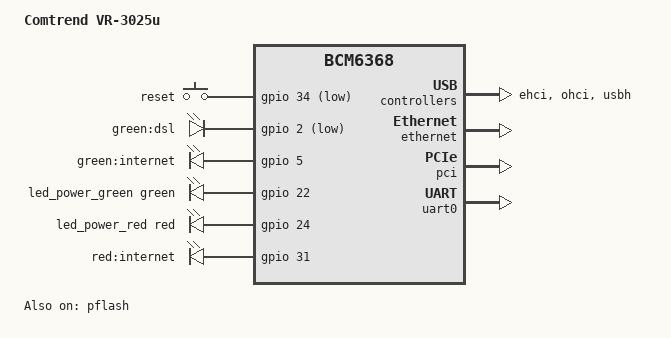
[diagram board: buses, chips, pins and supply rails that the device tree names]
// SPDX-License-Identifier: GPL-2.0-or-later

#include "bcm6368.dtsi"

/ {
	model = "Comtrend VR-3025u";
	compatible = "comtrend,vr-3025u", "brcm,bcm6368";

	aliases {
		led-boot = &led_power_green;
		led-failsafe = &led_power_red;
		led-running = &led_power_green;
		led-upgrade = &led_power_green;
	};

	keys {
		compatible = "gpio-keys-polled";
		poll-interval = <100>;

		reset {
			label = "reset";
			gpios = <&gpio 34 GPIO_ACTIVE_LOW>;
			linux,code = <KEY_RESTART>;
			debounce-interval = <60>;
		};
	};

	leds {
		compatible = "gpio-leds";

		led@2 {
			label = "green:dsl";
			gpios = <&gpio 2 GPIO_ACTIVE_LOW>;
		};

		led@5 {
			label = "green:internet";
			gpios = <&gpio 5 GPIO_ACTIVE_HIGH>;
		};

		led_power_green: led@22 {
			function = LED_FUNCTION_POWER;
			color = <LED_COLOR_ID_GREEN>;
			gpios = <&gpio 22 GPIO_ACTIVE_HIGH>;
		};

		led_power_red: led@24 {
			function = LED_FUNCTION_POWER;
			color = <LED_COLOR_ID_RED>;
			gpios = <&gpio 24 GPIO_ACTIVE_HIGH>;
			panic-indicator;
		};

		led@31 {
			label = "red:internet";
			gpios = <&gpio 31 GPIO_ACTIVE_HIGH>;
		};
	};

	bcm43222-sprom {
		compatible = "brcm,ssb-sprom";

		pci-bus = <0>;
		pci-dev = <1>;

		nvmem-cells = <&macaddr_cfe_6a0 1>;
		nvmem-cell-names = "mac-address";

		brcm,sprom = "brcm/bcm43222-sprom.bin";
		brcm,sprom-fixups = <97 0xfeb3>,
				    <98 0x1618>,
				    <99 0xfab0>,
				    <113 0xfed1>,
				    <114 0x1609>,
				    <115 0xfad9>;
	};
};

&ehci {
	status = "okay";
};

&ethernet {
	status = "okay";

	nvmem-cells = <&macaddr_cfe_6a0 0>;
	nvmem-cell-names = "mac-address";
};

&ohci {
	status = "okay";
};

&pci {
	status = "okay";
};

&pflash {
	status = "okay";

	partitions {
		compatible = "fixed-partitions";
		#address-cells = <1>;
		#size-cells = <1>;

		partition@0 {
			label = "CFE";
			reg = <0x0000000 0x0020000>;
			read-only;

			nvmem-layout {
				compatible = "fixed-layout";
				#address-cells = <1>;
				#size-cells = <1>;

				macaddr_cfe_6a0: macaddr@6a0 {
					compatible = "mac-base";
					reg = <0x6a0 0x6>;
					#nvmem-cell-cells = <1>;
				};
			};
		};

		partition@20000 {
			compatible = "brcm,bcm963xx-imagetag";
			label = "firmware";
			reg = <0x0020000 0x1fc0000>;
		};

		partition@1fe0000 {
			label = "nvram";
			reg = <0x1fe0000 0x020000>;
		};
	};
};

&pinctrl {
	pinctrl-names = "default";
	pinctrl-0 = <&pinctrl_ephy0_led &pinctrl_ephy1_led
		     &pinctrl_ephy2_led &pinctrl_ephy3_led>;
};

&switch0 {
	ports {
		port@0 {
			reg = <0>;
			label = "lan1";

			phy-handle = <&phy1>;
			phy-mode = "mii";
		};

		port@1 {
			reg = <1>;
			label = "lan2";

			phy-handle = <&phy2>;
			phy-mode = "mii";
		};

		port@2 {
			reg = <2>;
			label = "lan3";

			phy-handle = <&phy3>;
			phy-mode = "mii";
		};

		port@3 {
			reg = <3>;
			label = "lan4";

			phy-handle = <&phy4>;
			phy-mode = "mii";
		};
	};
};

&uart0 {
	status = "okay";
};

&usbh {
	status = "okay";
};
